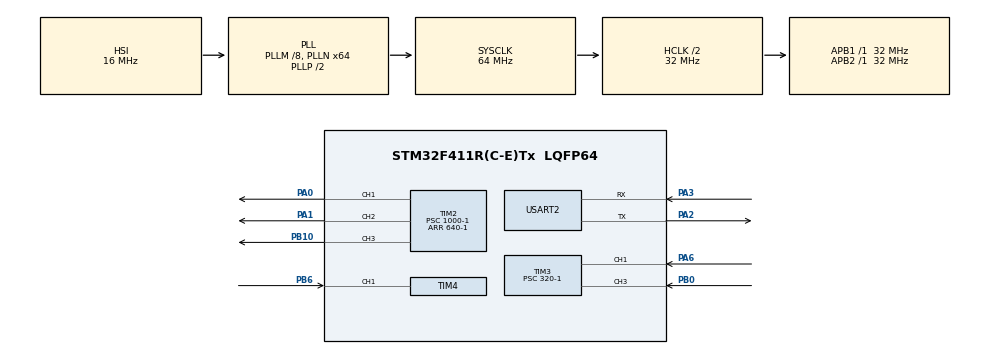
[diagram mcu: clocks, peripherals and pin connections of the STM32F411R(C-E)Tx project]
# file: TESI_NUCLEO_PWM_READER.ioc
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Mcu.Family=STM32F4
Mcu.Name=STM32F411R(C-E)Tx
Mcu.Package=LQFP64
NVIC.PriorityGroup=NVIC_PRIORITYGROUP_4
NVIC.TIM3_IRQn=true\:0\:0\:false\:false\:true\:true\:true\:true
NVIC.TIM4_IRQn=true\:0\:0\:false\:false\:true\:true\:true\:true
PA0-WKUP.Signal=S_TIM2_CH1_ETR
PA1.Signal=S_TIM2_CH2
PA13.Mode=Serial_Wire
PA13.Signal=SYS_JTMS-SWDIO
PA14.Mode=Serial_Wire
PA14.Signal=SYS_JTCK-SWCLK
PA2.Mode=Asynchronous
PA2.Signal=USART2_TX
PA3.Mode=Asynchronous
PA3.Signal=USART2_RX
PA6.Signal=S_TIM3_CH1
PB0.Signal=S_TIM3_CH3
PB10.Signal=S_TIM2_CH3
PB6.Signal=S_TIM4_CH1
ProjectManager.HeapSize=0x200
ProjectManager.StackSize=0x400
ProjectManager.TargetToolchain=STM32CubeIDE
RCC.48MHZClocksFreq_Value=32000000
RCC.AHBCLKDivider=RCC_SYSCLK_DIV2
RCC.AHBFreq_Value=32000000
RCC.APB1Freq_Value=32000000
RCC.APB1TimFreq_Value=32000000
RCC.APB2Freq_Value=32000000
RCC.APB2TimFreq_Value=32000000
RCC.CortexFreq_Value=32000000
RCC.HCLKFreq_Value=32000000
RCC.HSE_VALUE=25000000
RCC.HSI_VALUE=16000000
RCC.LSE_VALUE=32768
RCC.PLLM=8
RCC.PLLN=64
RCC.SYSCLKFreq_VALUE=64000000
RCC.SYSCLKSource=RCC_SYSCLKSOURCE_PLLCLK
RCC.VCOOutputFreq_Value=128000000
SH.S_TIM2_CH1_ETR.0=TIM2_CH1,PWM Generation1 CH1
SH.S_TIM2_CH2.0=TIM2_CH2,PWM Generation2 CH2
SH.S_TIM2_CH3.0=TIM2_CH3,PWM Generation3 CH3
SH.S_TIM3_CH1.0=TIM3_CH1,Input_Capture1_from_TI1
SH.S_TIM3_CH3.0=TIM3_CH3,Input_Capture3_from_TI3
SH.S_TIM4_CH1.0=TIM4_CH1,Input_Capture1_from_TI1
TIM2.Channel-PWM\ Generation1\ CH1=TIM_CHANNEL_1
TIM2.Channel-PWM\ Generation2\ CH2=TIM_CHANNEL_2
TIM2.Channel-PWM\ Generation3\ CH3=TIM_CHANNEL_3
TIM2.Period=640-1
TIM2.Prescaler=1000-1
TIM2.Pulse-PWM\ Generation1\ CH1=320
TIM2.Pulse-PWM\ Generation2\ CH2=512
TIM2.Pulse-PWM\ Generation3\ CH3=128
TIM3.Channel-Input_Capture1_from_TI1=TIM_CHANNEL_1
TIM3.Channel-Input_Capture2_from_TI1_63=TIM_CHANNEL_2
TIM3.Channel-Input_Capture3_from_TI3=TIM_CHANNEL_3
TIM3.Channel-Input_Capture4_from_TI3_63=TIM_CHANNEL_4
TIM3.ICPolarity_CH2=TIM_INPUTCHANNELPOLARITY_FALLING
TIM3.ICPolarity_CH4=TIM_INPUTCHANNELPOLARITY_FALLING
TIM3.Prescaler=320-1
TIM4.Channel-Input_Capture1_from_TI1=TIM_CHANNEL_1
TIM4.Channel-Input_Capture2_from_TI1_63=TIM_CHANNEL_2
TIM4.ICPolarity_CH2=TIM_INPUTCHANNELPOLARITY_FALLING
TIM4.Prescaler=320-1
USART2.VirtualMode=VM_ASYNC
VP_TIM2_VS_ClockSourceINT.Mode=Internal
VP_TIM3_VS_ClockSourceINT.Mode=Internal
VP_TIM3_VS_indirect_ch1.Mode=Input_Capture2_from_TI1_63
VP_TIM3_VS_indirect_ch3.Mode=Input_Capture4_from_TI3_63
VP_TIM4_VS_ClockSourceINT.Mode=Internal
VP_TIM4_VS_indirect_ch1.Mode=Input_Capture2_from_TI1_63
board=custom

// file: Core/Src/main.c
/* USER CODE BEGIN Header */
/**
 ******************************************************************************
 * @file           : main.c
 * @brief          : Main program body
 ******************************************************************************
 * @attention
 *
 * Copyright (c) 2025 STMicroelectronics.
 * All rights reserved.
 *
 * This software is licensed under terms that can be found in the LICENSE file
 * in the root directory of this software component.
 * If no LICENSE file comes with this software, it is provided AS-IS.
 *
 ******************************************************************************
 */
/* USER CODE END Header */
#include "main.h"

/* USER CODE BEGIN Includes */
#include "string.h"
#include "stdio.h"
#include "pwmsignal.h"
/* USER CODE END Includes */

TIM_HandleTypeDef htim2;
TIM_HandleTypeDef htim3;
TIM_HandleTypeDef htim4;

UART_HandleTypeDef huart2;

/* USER CODE BEGIN PV */
PWMSignal pwm1, pwm2, pwm3;
char buff[200];
const char str[] = "pwm1 f: %lu , d: %lu \npwm2 f: %lu , d: %lu \npwm3 f: %lu , d: %lu \n\n";
int counter = 0;
/* USER CODE END PV */

void SystemClock_Config(void);
static void MX_GPIO_Init(void);
static void MX_TIM2_Init(void);
static void MX_TIM3_Init(void);
static void MX_USART2_UART_Init(void);
static void MX_TIM4_Init(void);

int main(void)
{

	/* MCU Configuration--------------------------------------------------------*/

	/* Reset of all peripherals, Initializes the Flash interface and the Systick. */
	HAL_Init();

	/* Configure the system clock */
	SystemClock_Config();

	/* Initialize all configured peripherals */
	MX_GPIO_Init();
	MX_TIM2_Init();
	MX_TIM3_Init();
	MX_USART2_UART_Init();
	MX_TIM4_Init();
	/* USER CODE BEGIN 2 */
	// Attivazione dei SEGNALI
	HAL_TIM_IC_Start(&htim2, TIM_CHANNEL_1); // PA0		-> A0
	HAL_TIM_IC_Start(&htim2, TIM_CHANNEL_2); // PA1		-> A1
	HAL_TIM_IC_Start(&htim2, TIM_CHANNEL_3); // PB10	-> D6

	// ATTIVAZIONE DEGLI INTERRUPT
	HAL_TIM_IC_Start_IT(&htim3, TIM_CHANNEL_1); // PA6	-> D12
	HAL_TIM_IC_Start_IT(&htim3, TIM_CHANNEL_2);
	HAL_TIM_IC_Start_IT(&htim3, TIM_CHANNEL_3);	// PB0	-> A3
	HAL_TIM_IC_Start_IT(&htim3, TIM_CHANNEL_4);
	HAL_TIM_IC_Start_IT(&htim4, TIM_CHANNEL_1);	// PB6	-> D10
	HAL_TIM_IC_Start_IT(&htim4, TIM_CHANNEL_2);

	// Inizzializzazione della PWMSignal
	initializePWMSignal(32000000L, 320);

	/* USER CODE END 2 */

	/* Infinite loop */
	/* USER CODE BEGIN WHILE */
	while (1)
	{
		sprintf(buff, str, getFrequency(&pwm1), getDutyCycle(&pwm1), getFrequency(&pwm2), getDutyCycle(&pwm2),
				getFrequency(&pwm3), getDutyCycle(&pwm3));
		HAL_UART_Transmit(&huart2, (uint8_t*) buff, strlen(str) + 1, 1000);
		HAL_Delay(500);
		/* USER CODE END WHILE */

	}
}

void SystemClock_Config(void)
{
	RCC_OscInitTypeDef RCC_OscInitStruct =
	{ 0 };
	RCC_ClkInitTypeDef RCC_ClkInitStruct =
	{ 0 };

	/** Configure the main internal regulator output voltage
	 */
	__HAL_RCC_PWR_CLK_ENABLE();
	__HAL_PWR_VOLTAGESCALING_CONFIG(PWR_REGULATOR_VOLTAGE_SCALE1);

	/** Initializes the RCC Oscillators according to the specified parameters
	 * in the RCC_OscInitTypeDef structure.
	 */
	RCC_OscInitStruct.OscillatorType = RCC_OSCILLATORTYPE_HSI;
	RCC_OscInitStruct.HSIState = RCC_HSI_ON;
	RCC_OscInitStruct.HSICalibrationValue = RCC_HSICALIBRATION_DEFAULT;
	RCC_OscInitStruct.PLL.PLLState = RCC_PLL_ON;
	RCC_OscInitStruct.PLL.PLLSource = RCC_PLLSOURCE_HSI;
	RCC_OscInitStruct.PLL.PLLM = 8;
	RCC_OscInitStruct.PLL.PLLN = 64;
	RCC_OscInitStruct.PLL.PLLP = RCC_PLLP_DIV2;
	RCC_OscInitStruct.PLL.PLLQ = 4;
	if (HAL_RCC_OscConfig(&RCC_OscInitStruct) != HAL_OK)
	{
		Error_Handler();
	}

	/** Initializes the CPU, AHB and APB buses clocks
	 */
	RCC_ClkInitStruct.ClockType = RCC_CLOCKTYPE_HCLK | RCC_CLOCKTYPE_SYSCLK | RCC_CLOCKTYPE_PCLK1 | RCC_CLOCKTYPE_PCLK2;
	RCC_ClkInitStruct.SYSCLKSource = RCC_SYSCLKSOURCE_PLLCLK;
	RCC_ClkInitStruct.AHBCLKDivider = RCC_SYSCLK_DIV2;
	RCC_ClkInitStruct.APB1CLKDivider = RCC_HCLK_DIV1;
	RCC_ClkInitStruct.APB2CLKDivider = RCC_HCLK_DIV1;

	if (HAL_RCC_ClockConfig(&RCC_ClkInitStruct, FLASH_LATENCY_1) != HAL_OK)
	{
		Error_Handler();
	}
}

static void MX_TIM2_Init(void)
{

	TIM_ClockConfigTypeDef sClockSourceConfig =
	{ 0 };
	TIM_MasterConfigTypeDef sMasterConfig =
	{ 0 };
	TIM_OC_InitTypeDef sConfigOC =
	{ 0 };

	htim2.Instance = TIM2;
	htim2.Init.Prescaler = 1000 - 1;
	htim2.Init.CounterMode = TIM_COUNTERMODE_UP;
	htim2.Init.Period = 640 - 1;
	htim2.Init.ClockDivision = TIM_CLOCKDIVISION_DIV1;
	htim2.Init.AutoReloadPreload = TIM_AUTORELOAD_PRELOAD_DISABLE;
	if (HAL_TIM_Base_Init(&htim2) != HAL_OK)
	{
		Error_Handler();
	}
	sClockSourceConfig.ClockSource = TIM_CLOCKSOURCE_INTERNAL;
	if (HAL_TIM_ConfigClockSource(&htim2, &sClockSourceConfig) != HAL_OK)
	{
		Error_Handler();
	}
	if (HAL_TIM_PWM_Init(&htim2) != HAL_OK)
	{
		Error_Handler();
	}
	sMasterConfig.MasterOutputTrigger = TIM_TRGO_RESET;
	sMasterConfig.MasterSlaveMode = TIM_MASTERSLAVEMODE_DISABLE;
	if (HAL_TIMEx_MasterConfigSynchronization(&htim2, &sMasterConfig) != HAL_OK)
	{
		Error_Handler();
	}
	sConfigOC.OCMode = TIM_OCMODE_PWM1;
	sConfigOC.Pulse = 320;
	sConfigOC.OCPolarity = TIM_OCPOLARITY_HIGH;
	sConfigOC.OCFastMode = TIM_OCFAST_DISABLE;
	if (HAL_TIM_PWM_ConfigChannel(&htim2, &sConfigOC, TIM_CHANNEL_1) != HAL_OK)
	{
		Error_Handler();
	}
	sConfigOC.Pulse = 512;
	if (HAL_TIM_PWM_ConfigChannel(&htim2, &sConfigOC, TIM_CHANNEL_2) != HAL_OK)
	{
		Error_Handler();
	}
	sConfigOC.Pulse = 128;
	if (HAL_TIM_PWM_ConfigChannel(&htim2, &sConfigOC, TIM_CHANNEL_3) != HAL_OK)
	{
		Error_Handler();
	}
	HAL_TIM_MspPostInit(&htim2);

}

static void MX_TIM3_Init(void)
{

	TIM_ClockConfigTypeDef sClockSourceConfig =
	{ 0 };
	TIM_MasterConfigTypeDef sMasterConfig =
	{ 0 };
	TIM_IC_InitTypeDef sConfigIC =
	{ 0 };

	htim3.Instance = TIM3;
	htim3.Init.Prescaler = 320 - 1;
	htim3.Init.CounterMode = TIM_COUNTERMODE_UP;
	htim3.Init.Period = 65535;
	htim3.Init.ClockDivision = TIM_CLOCKDIVISION_DIV1;
	htim3.Init.AutoReloadPreload = TIM_AUTORELOAD_PRELOAD_DISABLE;
	if (HAL_TIM_Base_Init(&htim3) != HAL_OK)
	{
		Error_Handler();
	}
	sClockSourceConfig.ClockSource = TIM_CLOCKSOURCE_INTERNAL;
	if (HAL_TIM_ConfigClockSource(&htim3, &sClockSourceConfig) != HAL_OK)
	{
		Error_Handler();
	}
	if (HAL_TIM_IC_Init(&htim3) != HAL_OK)
	{
		Error_Handler();
	}
	sMasterConfig.MasterOutputTrigger = TIM_TRGO_RESET;
	sMasterConfig.MasterSlaveMode = TIM_MASTERSLAVEMODE_DISABLE;
	if (HAL_TIMEx_MasterConfigSynchronization(&htim3, &sMasterConfig) != HAL_OK)
	{
		Error_Handler();
	}
	sConfigIC.ICPolarity = TIM_INPUTCHANNELPOLARITY_RISING;
	sConfigIC.ICSelection = TIM_ICSELECTION_DIRECTTI;
	sConfigIC.ICPrescaler = TIM_ICPSC_DIV1;
	sConfigIC.ICFilter = 0;
	if (HAL_TIM_IC_ConfigChannel(&htim3, &sConfigIC, TIM_CHANNEL_1) != HAL_OK)
	{
		Error_Handler();
	}
	sConfigIC.ICPolarity = TIM_INPUTCHANNELPOLARITY_FALLING;
	sConfigIC.ICSelection = TIM_ICSELECTION_INDIRECTTI;
	if (HAL_TIM_IC_ConfigChannel(&htim3, &sConfigIC, TIM_CHANNEL_2) != HAL_OK)
	{
		Error_Handler();
	}
	sConfigIC.ICPolarity = TIM_INPUTCHANNELPOLARITY_RISING;
	sConfigIC.ICSelection = TIM_ICSELECTION_DIRECTTI;
	if (HAL_TIM_IC_ConfigChannel(&htim3, &sConfigIC, TIM_CHANNEL_3) != HAL_OK)
	{
		Error_Handler();
	}
	sConfigIC.ICPolarity = TIM_INPUTCHANNELPOLARITY_FALLING;
	sConfigIC.ICSelection = TIM_ICSELECTION_INDIRECTTI;
	if (HAL_TIM_IC_ConfigChannel(&htim3, &sConfigIC, TIM_CHANNEL_4) != HAL_OK)
	{
		Error_Handler();
	}

}

static void MX_TIM4_Init(void)
{

	TIM_ClockConfigTypeDef sClockSourceConfig =
	{ 0 };
	TIM_MasterConfigTypeDef sMasterConfig =
	{ 0 };
	TIM_IC_InitTypeDef sConfigIC =
	{ 0 };

	htim4.Instance = TIM4;
	htim4.Init.Prescaler = 320 - 1;
	htim4.Init.CounterMode = TIM_COUNTERMODE_UP;
	htim4.Init.Period = 65535;
	htim4.Init.ClockDivision = TIM_CLOCKDIVISION_DIV1;
	htim4.Init.AutoReloadPreload = TIM_AUTORELOAD_PRELOAD_DISABLE;
	if (HAL_TIM_Base_Init(&htim4) != HAL_OK)
	{
		Error_Handler();
	}
	sClockSourceConfig.ClockSource = TIM_CLOCKSOURCE_INTERNAL;
	if (HAL_TIM_ConfigClockSource(&htim4, &sClockSourceConfig) != HAL_OK)
	{
		Error_Handler();
	}
	if (HAL_TIM_IC_Init(&htim4) != HAL_OK)
	{
		Error_Handler();
	}
	sMasterConfig.MasterOutputTrigger = TIM_TRGO_RESET;
	sMasterConfig.MasterSlaveMode = TIM_MASTERSLAVEMODE_DISABLE;
	if (HAL_TIMEx_MasterConfigSynchronization(&htim4, &sMasterConfig) != HAL_OK)
	{
		Error_Handler();
	}
	sConfigIC.ICPolarity = TIM_INPUTCHANNELPOLARITY_RISING;
	sConfigIC.ICSelection = TIM_ICSELECTION_DIRECTTI;
	sConfigIC.ICPrescaler = TIM_ICPSC_DIV1;
	sConfigIC.ICFilter = 0;
	if (HAL_TIM_IC_ConfigChannel(&htim4, &sConfigIC, TIM_CHANNEL_1) != HAL_OK)
	{
		Error_Handler();
	}
	sConfigIC.ICPolarity = TIM_INPUTCHANNELPOLARITY_FALLING;
	sConfigIC.ICSelection = TIM_ICSELECTION_INDIRECTTI;
	if (HAL_TIM_IC_ConfigChannel(&htim4, &sConfigIC, TIM_CHANNEL_2) != HAL_OK)
	{
		Error_Handler();
	}

}

static void MX_USART2_UART_Init(void)
{

	huart2.Instance = USART2;
	huart2.Init.BaudRate = 115200;
	huart2.Init.WordLength = UART_WORDLENGTH_8B;
	huart2.Init.StopBits = UART_STOPBITS_1;
	huart2.Init.Parity = UART_PARITY_NONE;
	huart2.Init.Mode = UART_MODE_TX_RX;
	huart2.Init.HwFlowCtl = UART_HWCONTROL_NONE;
	huart2.Init.OverSampling = UART_OVERSAMPLING_16;
	if (HAL_UART_Init(&huart2) != HAL_OK)
	{
		Error_Handler();
	}

}

static void MX_GPIO_Init(void)
{

	/* GPIO Ports Clock Enable */
	__HAL_RCC_GPIOA_CLK_ENABLE();
	__HAL_RCC_GPIOB_CLK_ENABLE();

}

/* USER CODE BEGIN 4 */
void HAL_TIM_IC_CaptureCallback(TIM_HandleTypeDef *htim)
{
	if (htim->Instance == TIM3)
	{
		switch (htim->Channel)
		{
		case HAL_TIM_ACTIVE_CHANNEL_1:
			computeFrequency(&pwm1, htim, TIM_CHANNEL_1, 1);
			break;
		case HAL_TIM_ACTIVE_CHANNEL_2:
			computeFrequency(&pwm1, htim, TIM_CHANNEL_2, 0);
			break;
		case HAL_TIM_ACTIVE_CHANNEL_3:
			computeFrequency(&pwm2, htim, TIM_CHANNEL_3, 1);
			break;
		case HAL_TIM_ACTIVE_CHANNEL_4:
			computeFrequency(&pwm2, htim, TIM_CHANNEL_4, 0);
			break;
		default:
			break;
		}
	}
	else if (htim->Instance == TIM4)
	{
		switch (htim->Channel)
		{
		case HAL_TIM_ACTIVE_CHANNEL_1:
			computeFrequency(&pwm3, htim, TIM_CHANNEL_1, 1);
			break;
		case HAL_TIM_ACTIVE_CHANNEL_2:
			computeFrequency(&pwm3, htim, TIM_CHANNEL_2, 0);
			break;
		default:
			break;
		}
	}
}

/* USER CODE END 4 */

void Error_Handler(void)
{
	__disable_irq();
	while (1)
	{
	}
}
